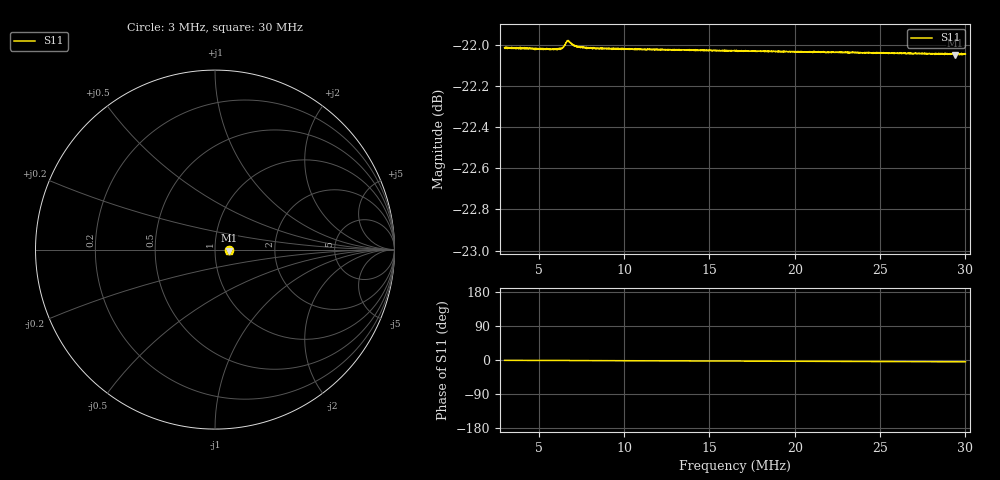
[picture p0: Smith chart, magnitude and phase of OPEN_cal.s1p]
! Created with skrf (http://scikit-rf.org).
# Hz S RI R 50.0
!freq ReS11 ImS11
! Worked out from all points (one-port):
!   2000 points, 3 MHz to 30 MHz, reference 50 ohm
!   lowest |S11| = -22.0 dB at 29.39 MHz (marker M1), VSWR 1.17, Z = 58.5 - j0.761 ohm
!   |S11| at or under -10 dB: start of sweep to end of sweep
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3000000  0.0793 -0.0012
4364182  0.0792 -0.00145
5755378  0.0792 -0.00172
6214607  0.0792 -0.00172
6295648  0.0793 -0.00174
6376688  0.0793 -0.00172
6457729  0.0793 -0.00166
6619810  0.0795 -0.00162
6687344  0.0796 -0.00175
6741371  0.0796 -0.00187
6822411  0.0795 -0.00199
6903452  0.0795 -0.00203
7025013  0.0794 -0.00204
7106053  0.0794 -0.00206
7254627  0.0793 -0.00207
7470735  0.0793 -0.00212
7848924  0.0793 -0.0022
8470235  0.0793 -0.00227
9753377  0.0792 -0.00255
1.11986e7  0.0792 -0.00286
1.146873e7  0.0792 -0.00289
1.313007e7  0.0791 -0.00323
1.650675e7  0.0791 -0.00389
1.988344e7  0.079 -0.00456
2.326013e7  0.0789 -0.00521
2.663682e7  0.0788 -0.00589
2.93922e7  0.0787 -0.00646
3e7  0.0787 -0.00657
